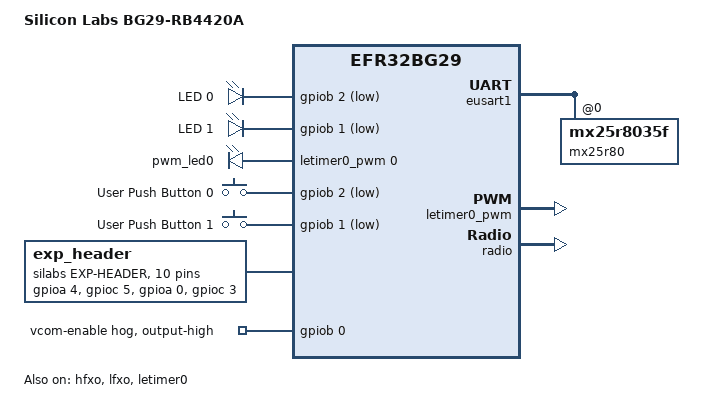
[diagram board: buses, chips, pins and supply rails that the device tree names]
/*
 * Copyright (c) 2025 Silicon Laboratories Inc.
 *
 * SPDX-License-Identifier: Apache-2.0
 */

/dts-v1/;
#include <silabs/xg29/efr32bg29b220f1024cj45.dtsi>
#include <zephyr/dt-bindings/input/input-event-codes.h>
#include <zephyr/dt-bindings/pwm/pwm.h>
#include "xg29_common.dtsi"
#include "bg29_rb4420a-pinctrl.dtsi"

/ {
	model = "Silicon Labs BG29-RB4420A";
	compatible = "silabs,bg29_rb4420a", "silabs,efr32bg29";

	aliases {
		pwm-led0 = &pwm_led0;
		sw0 = &button0;
		sw1 = &button1;
	};

	leds {
		compatible = "gpio-leds";

		led0: led_0 {
			gpios = <&gpiob 2 GPIO_ACTIVE_LOW>;
			label = "LED 0";
		};

		led1: led_1 {
			gpios = <&gpiob 1 GPIO_ACTIVE_LOW>;
			label = "LED 1";
		};
	};

	pwmleds {
		compatible = "pwm-leds";

		pwm_led0: pwm_led_0 {
			pwms = <&letimer0_pwm 0 PWM_MSEC(20) PWM_POLARITY_INVERTED>;
		};
	};

	buttons {
		compatible = "gpio-keys";

		button0: button_0 {
			gpios = <&gpiob 2 GPIO_ACTIVE_LOW>;
			label = "User Push Button 0";
			zephyr,code = <INPUT_KEY_0>;
		};

		button1: button_1 {
			gpios = <&gpiob 1 GPIO_ACTIVE_LOW>;
			label = "User Push Button 1";
			zephyr,code = <INPUT_KEY_1>;
		};
	};

	exp_header: exp-header {
		compatible = "silabs,exp-header";
		#gpio-cells = <2>;
		gpio-map = <3 0 &gpioa 4 0>,
			   <4 0 &gpioc 5 0>,
			   <5 0 &gpioa 0 0>,
			   <6 0 &gpioc 3 0>,
			   <7 0 &gpiob 2 0>,
			   <8 0 &gpioc 2 0>,
			   <9 0 &gpiob 1 0>,
			   <10 0 &gpioc 6 0>,
			   <12 0 &gpioa 5 0>,
			   <14 0 &gpioa 6 0>;
		gpio-map-mask = <0xffffffff 0x0>;
		gpio-map-pass-thru = <0x0 GPIO_DT_FLAGS_MASK>;
	};
};

&hfxo {
	ctune = <133>;
	precision = <50>;
	status = "okay";
};

&lfxo {
	ctune = <32>;
	precision = <50>;
	status = "okay";
};

&eusart1 {
	cs-gpios = <&gpioc 4 GPIO_ACTIVE_LOW>;

	mx25r80: mx25r8035f@0 {
		zephyr,pm-device-runtime-auto;
	};
};

&letimer0 {
	status = "okay";

	letimer0_pwm: pwm {
		pinctrl-0 = <&letimer0_default>;
		pinctrl-names = "default";
		status = "okay";
	};
};

&gpiob {
	vcom-enable {
		gpio-hog;
		gpios = <0 GPIO_ACTIVE_HIGH>;
		output-high;
	};
};

&radio {
	pa-voltage-mv = <1800>;
	pa-initial-power-dbm = <0>;
	pa-2p4ghz = "lp";
};
